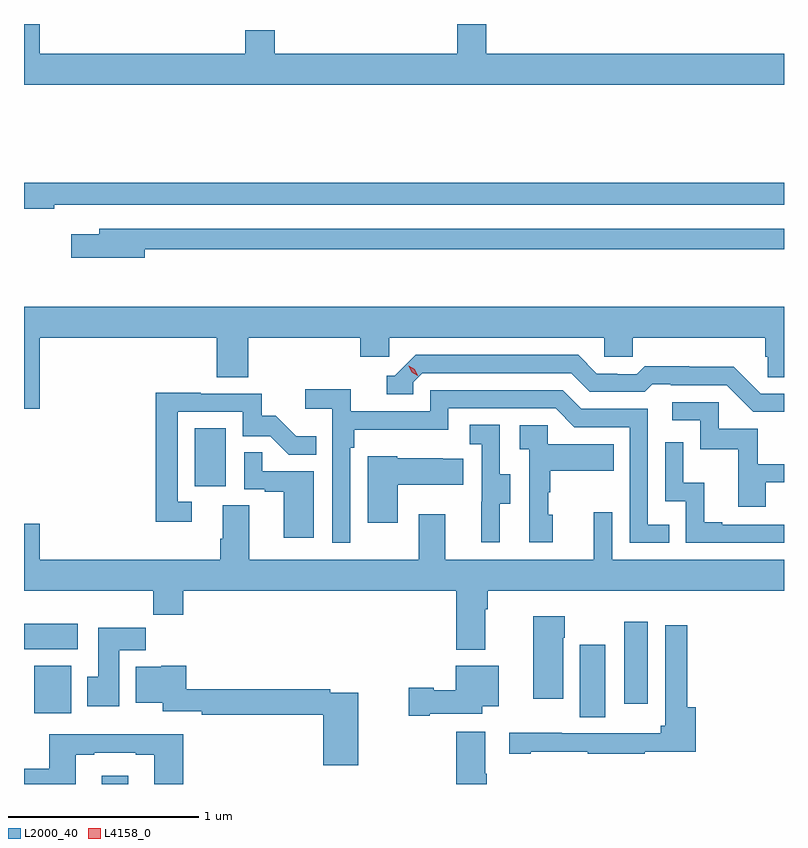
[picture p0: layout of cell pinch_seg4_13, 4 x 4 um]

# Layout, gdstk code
import gdstk
lib = gdstk.Library(unit=1e-6, precision=1e-09)
def R(c, l, rs):  # rectangles x0, y0, x1, y1
    for r in rs: c.add(gdstk.rectangle(r[:2], r[2:], *l))
def P(c, l, *ps):  # polygons
    for p in ps: c.add(gdstk.Polygon(p, *l))
L2000_40 = (2000, 40)
L4158_0 = (4158, 0)

pinch_seg4_13 = lib.new_cell('pinch_seg4_13')
R(pinch_seg4_13, L2000_40, [(1112.549,813.12,1112.689,813.163), (1115.066,813.472,1115.2,813.853), (1112.193,813.492,1112.389,813.742), (1115.3,813.543,1115.422,813.973), (1112.14,813.83,1112.422,813.964), (1113.038,814.686,1113.202,814.993)])
P(pinch_seg4_13, L2000_40, [(1116.14,816.964),(1114.574,816.964),(1114.574,817.12),(1114.421,817.12),(1114.421,816.964),(1113.461,816.964),(1113.461,817.088),(1113.305,817.088),(1113.305,816.964),(1112.224,816.964),(1112.224,817.12),(1112.14,817.12),(1112.14,816.8),(1116.14,816.8)],
  [(1112.3,816.168),(1116.14,816.168),(1116.14,816.284),(1112.14,816.284),(1112.14,816.148),(1112.3,816.148)],
  [(1112.776,815.934),(1116.14,815.934),(1116.14,816.042),(1112.537,816.042),(1112.537,816.013),(1112.388,816.013),(1112.388,815.891),(1112.776,815.891)],
  [(1112.224,815.468),(1113.155,815.468),(1113.155,815.26),(1113.32,815.26),(1113.32,815.468),(1113.911,815.468),(1113.911,815.37),(1114.062,815.37),(1114.062,815.468),(1115.193,815.468),(1115.193,815.37),(1115.343,815.37),(1115.343,815.468),(1116.041,815.468),(1116.041,815.37),(1116.055,815.37),(1116.055,815.26),(1116.14,815.26),(1116.14,815.632),(1112.14,815.632),(1112.14,815.094),(1112.224,815.094)],
  [(1116.14,815.175),(1116.018,815.175),(1115.876,815.317),(1115.64,815.317),(1115.64,815.32),(1115.407,815.32),(1115.365,815.277),(1115.262,815.277),(1115.262,815.28),(1115.155,815.28),(1115.056,815.379),(1114.203,815.379),(1114.092,815.268),(1114.049,815.268),(1114.049,815.172),(1114.188,815.172),(1114.188,815.235),(1114.236,815.283),(1115.019,815.283),(1115.118,815.184),(1115.407,815.184),(1115.446,815.223),(1115.545,815.223),(1115.545,815.22),(1115.838,815.22),(1115.979,815.079),(1116.14,815.079)],
  [(1113.858,814.889),(1113.878,814.889),(1113.878,814.985),(1114.374,814.985),(1114.374,815.097),(1114.938,815.097),(1115.037,814.998),(1115.328,814.998),(1115.328,814.389),(1115.537,814.389),(1115.537,814.485),(1115.424,814.485),(1115.424,815.094),(1115.074,815.094),(1114.975,815.193),(1114.278,815.193),(1114.278,815.082),(1113.86,815.082),(1113.86,815.198),(1113.621,815.198),(1113.621,815.096),(1113.762,815.096),(1113.762,814.389),(1113.858,814.389)],
  [(1113.022,814.605),(1112.949,814.605),(1112.949,815.079),(1113.291,815.079),(1113.291,814.95),(1113.435,814.95),(1113.533,814.852),(1113.677,814.852),(1113.677,814.951),(1113.573,814.951),(1113.466,815.058),(1113.39,815.058),(1113.39,815.175),(1113.071,815.175),(1113.071,815.18),(1112.833,815.18),(1112.833,814.5),(1113.022,814.5)],
  [(1116.043,814.707),(1116.14,814.707),(1116.14,814.803),(1116.001,814.803),(1116.001,814.989),(1115.796,814.989),(1115.796,815.13),(1115.553,815.13),(1115.553,815.034),(1115.7,815.034),(1115.7,814.881),(1115.899,814.881),(1115.899,814.578),(1116.043,814.578)],
  [(1114.645,814.594),(1114.699,814.594),(1114.699,814.749),(1114.644,814.749),(1114.644,815.012),(1114.485,815.012),(1114.485,814.909),(1114.548,814.909),(1114.548,814.605),(1114.547,814.605),(1114.547,814.392),(1114.645,814.392)],
  [(1114.924,814.536),(1114.899,814.536),(1114.899,814.655),(1114.909,814.655),(1114.909,814.769),(1115.243,814.769),(1115.243,814.909),(1114.896,814.909),(1114.896,815.007),(1114.749,815.007),(1114.749,814.883),(1114.8,814.883),(1114.8,814.392),(1114.924,814.392)],
  [(1116.14,814.485),(1115.815,814.485),(1115.815,814.498),(1115.72,814.498),(1115.72,814.706),(1115.61,814.706),(1115.61,814.918),(1115.514,814.918),(1115.514,814.608),(1115.622,814.608),(1115.622,814.389),(1116.14,814.389)],
  [(1113.664,814.767),(1113.395,814.767),(1113.395,814.865),(1113.3,814.865),(1113.3,814.671),(1113.407,814.671),(1113.407,814.659),(1113.506,814.659),(1113.506,814.416),(1113.664,814.416)],
  [(1114.108,814.694),(1114.451,814.694),(1114.451,814.831),(1114.343,814.831),(1114.343,814.834),(1114.104,814.834),(1114.104,814.846),(1113.95,814.846),(1113.95,814.494),(1114.108,814.494)],
  [(1114.217,814.54),(1114.217,814.3),(1113.325,814.3),(1113.325,814.586),(1113.185,814.586),(1113.185,814.412),(1113.173,814.412),(1113.173,814.3),(1112.224,814.3),(1112.224,814.489),(1112.14,814.489),(1112.14,814.136),(1112.821,814.136),(1112.821,814.012),(1112.978,814.012),(1112.978,814.136),(1114.415,814.136),(1114.415,813.827),(1114.567,813.827),(1114.567,814.04),(1114.58,814.04),(1114.58,814.136),(1116.14,814.136),(1116.14,814.3),(1115.235,814.3),(1115.235,814.549),(1115.138,814.549),(1115.138,814.3),(1114.357,814.3),(1114.357,814.54)],
  [(1114.978,813.89),(1114.986,813.89),(1114.986,814.003),(1114.82,814.003),(1114.82,813.57),(1114.978,813.57)],
  [(1114.807,813.289),(1115.107,813.289),(1115.107,813.279),(1115.408,813.279),(1115.408,813.289),(1115.675,813.289),(1115.675,813.523),(1115.63,813.523),(1115.63,813.955),(1115.514,813.955),(1115.514,813.426),(1115.492,813.426),(1115.492,813.387),(1114.97,813.387),(1114.97,813.389),(1114.695,813.389),(1114.695,813.279),(1114.807,813.279)],
  [(1112.641,813.824),(1112.78,813.824),(1112.78,813.943),(1112.531,813.943),(1112.531,813.684),(1112.474,813.684),(1112.474,813.528),(1112.641,813.528)],
  [(1114.276,813.491),(1114.552,813.491),(1114.552,813.53),(1114.639,813.53),(1114.639,813.742),(1114.412,813.742),(1114.412,813.613),(1114.296,813.613),(1114.296,813.626),(1114.164,813.626),(1114.164,813.479),(1114.276,813.479)],
  [(1113.899,813.6),(1113.752,813.6),(1113.752,813.62),(1112.993,813.62),(1112.993,813.742),(1112.862,813.742),(1112.862,813.736),(1112.729,813.736),(1112.729,813.548),(1112.87,813.548),(1112.87,813.504),(1113.076,813.504),(1113.076,813.484),(1113.716,813.484),(1113.716,813.219),(1113.899,813.219)],
  [(1114.575,813.173),(1114.567,813.173),(1114.567,813.394),(1114.415,813.394),(1114.415,813.12),(1114.575,813.12)],
  [(1112.413,813.273),(1112.509,813.273),(1112.509,813.285),(1112.729,813.285),(1112.729,813.273),(1112.825,813.273),(1112.825,813.12),(1112.978,813.12),(1112.978,813.382),(1112.273,813.382),(1112.273,813.201),(1112.14,813.201),(1112.14,813.12),(1112.413,813.12)])
P(pinch_seg4_13, L4158_0, [(1114.212,815.269),(1114.181,815.288),(1114.165,815.321),(1114.165,815.321),(1114.165,815.321),(1114.196,815.302),(1114.212,815.269),(1114.212,815.269)])

lib.write_gds('pinch_seg4_13.gds')
